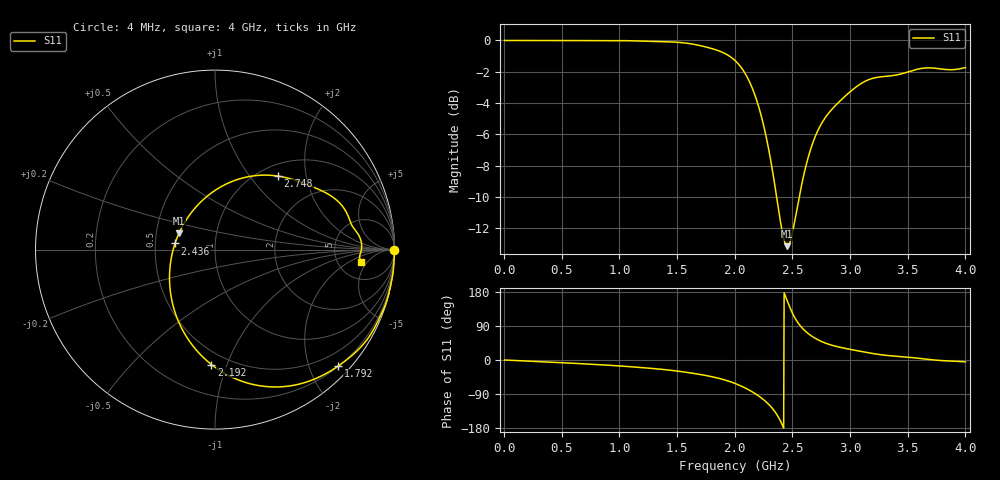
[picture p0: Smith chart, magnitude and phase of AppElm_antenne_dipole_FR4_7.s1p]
! TOUCHSTONE file generated by CST MICROWAVE STUDIO
! Date and time: Thu May 12 14:30:03 2022
! Project name: AppElm_antenne_dipole_FR4.cst
! Parameters = {L=38.8; e=0.035; f=2.45e+09; h=1.6; i=0.84; l1=4; lambda=122.449; ls=30; wl=1.7; ws=80}
! Header version: 2018
! Port assignment regex: !\s*Touchstone port\s*([0-9]+)\s*=\s*(CST MWS port|CST DS port)\s*([0-9]+|Zmin|Zmax)\s*\(\"(.*)\"\)(\s*mode\s*([0-9]+))?.*
! Touchstone port assignment:
! Touchstone port 1 = CST MWS port 1 ("")
# GHz S MA R 50
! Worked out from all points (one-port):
!   1000 points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, 4 MHz to 4 GHz, reference 50 ohm
!   lowest |S11| = -13.1 dB at 2.456 GHz (marker M1), VSWR 1.57, Z = 32.8 + j6.26 ohm
!   |S11| at or under -10 dB: 2.363 GHz to 2.559 GHz (195.9 MHz wide, 7.96 % of centre)
!   S11 on the Smith chart (normalised r, x): 4 MHz: open; 1.792 GHz: 0.21, -2.49; 2.192 GHz: 0.41, -0.88; 2.436 GHz: 0.63, +0.05; 2.748 GHz: 1.20, +1.39; 4 GHz: 8.52, -3.60
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0.004  0.9999 -0.1
0.504  1 -7.1
1.004  0.9989 -15.7
1.304  0.9921 -22.8
1.504  0.9867 -29.3
1.652  0.9709 -35.8
1.792  0.9441 -43.5
1.904  0.9125 -51.8
2.004  0.8615 -62.1
2.104  0.7681 -75.9
2.192  0.6409 -91.8
2.26  0.5166 -107.3
2.32  0.3977 -125.4
2.376  0.2943 -149.5
2.436  0.2254 171.3
2.456  0.2203 155.7
2.504  0.2469 121.2
2.56  0.3176 93.3
2.616  0.3959 75.0
2.676  0.4702 61.3
2.748  0.5392 49.4
2.852  0.6083 38.1
3.004  0.6875 27.9
3.2  0.7576 16.9
3.504  0.7937 7.3
3.64  0.8161 3.0
3.768  0.8127 -1.0
4  0.8191 -4.9
